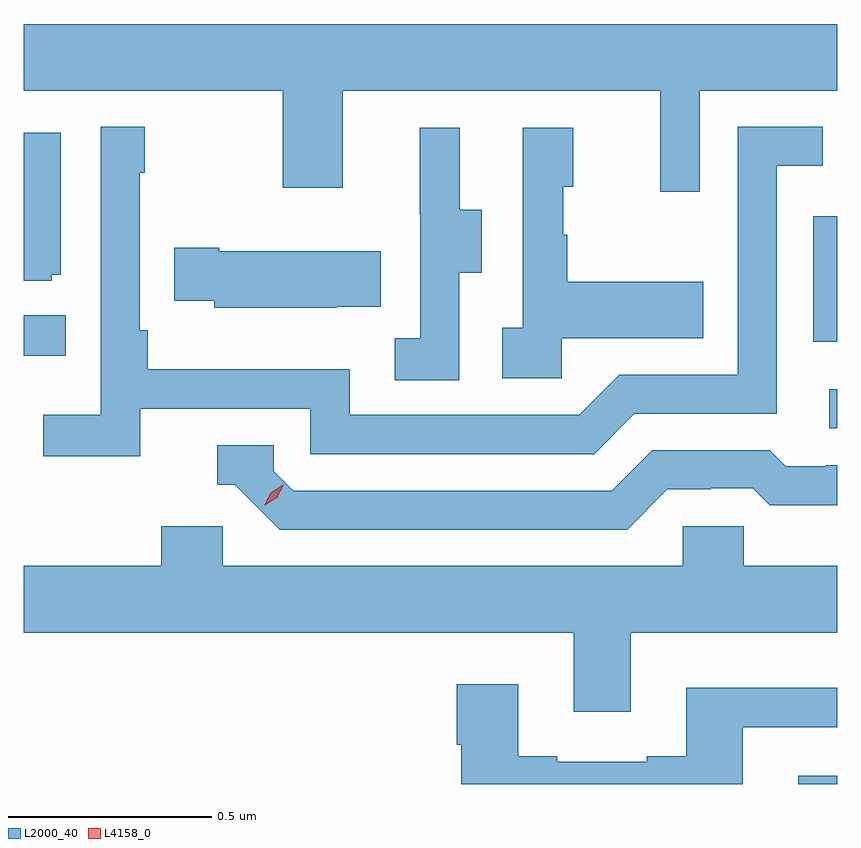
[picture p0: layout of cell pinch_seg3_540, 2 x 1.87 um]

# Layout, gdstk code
import gdstk
lib = gdstk.Library(unit=1e-6, precision=1e-09)
def R(c, l, rs):  # rectangles x0, y0, x1, y1
    for r in rs: c.add(gdstk.rectangle(r[:2], r[2:], *l))
def P(c, l, *ps):  # polygons
    for p in ps: c.add(gdstk.Polygon(p, *l))
L2000_40 = (2000, 40)
L4158_0 = (4158, 0)

pinch_seg3_540 = lib.new_cell('pinch_seg3_540')
R(pinch_seg3_540, L2000_40, [(1131.239,695.216,1131.335,695.236), (1131.315,696.09,1131.335,696.186), (1129.335,696.269,1129.439,696.368), (1131.276,696.303,1131.335,696.612)])
P(pinch_seg3_540, L2000_40, [(1130.997,696.92),(1131.335,696.92),(1131.335,697.084),(1129.335,697.084),(1129.335,696.92),(1129.972,696.92),(1129.972,696.681),(1130.119,696.681),(1130.119,696.92),(1130.9,696.92),(1130.9,696.672),(1130.997,696.672)],
  [(1129.622,696.138),(1130.04,696.138),(1130.04,696.027),(1130.737,696.027),(1130.836,696.126),(1131.186,696.126),(1131.186,696.735),(1131.299,696.735),(1131.299,696.831),(1131.09,696.831),(1131.09,696.222),(1130.799,696.222),(1130.7,696.123),(1130.136,696.123),(1130.136,696.235),(1129.64,696.235),(1129.64,696.331),(1129.62,696.331),(1129.62,696.719),(1129.633,696.719),(1129.633,696.832),(1129.524,696.832),(1129.524,696.124),(1129.383,696.124),(1129.383,696.022),(1129.622,696.022)],
  [(1130.406,696.472),(1130.461,696.472),(1130.461,696.627),(1130.407,696.627),(1130.407,696.829),(1130.309,696.829),(1130.309,696.615),(1130.31,696.615),(1130.31,696.311),(1130.247,696.311),(1130.247,696.208),(1130.406,696.208)],
  [(1130.658,696.311),(1131.005,696.311),(1131.005,696.451),(1130.671,696.451),(1130.671,696.566),(1130.661,696.566),(1130.661,696.684),(1130.686,696.684),(1130.686,696.829),(1130.562,696.829),(1130.562,696.338),(1130.511,696.338),(1130.511,696.213),(1130.658,696.213)],
  [(1129.404,696.468),(1129.426,696.468),(1129.426,696.817),(1129.335,696.817),(1129.335,696.453),(1129.404,696.453)],
  [(1130.105,696.389),(1130.213,696.389),(1130.213,696.526),(1129.816,696.526),(1129.816,696.534),(1129.705,696.534),(1129.705,696.404),(1129.803,696.404),(1129.803,696.386),(1130.105,696.386)],
  [(1130.917,695.94),(1131.024,695.94),(1131.024,695.943),(1131.127,695.943),(1131.169,695.901),(1131.335,695.901),(1131.335,696),(1131.307,696),(1131.307,695.997),(1131.208,695.997),(1131.169,696.036),(1130.88,696.036),(1130.781,695.937),(1129.998,695.937),(1129.95,695.985),(1129.95,696.048),(1129.811,696.048),(1129.811,695.952),(1129.854,695.952),(1129.965,695.841),(1130.818,695.841)],
  [(1130.827,695.588),(1131.335,695.588),(1131.335,695.752),(1131.105,695.752),(1131.105,695.85),(1130.955,695.85),(1130.955,695.752),(1129.824,695.752),(1129.824,695.85),(1129.673,695.85),(1129.673,695.752),(1129.335,695.752),(1129.335,695.588),(1130.687,695.588),(1130.687,695.394),(1130.827,695.394)],
  [(1131.103,695.355),(1131.335,695.355),(1131.335,695.452),(1130.963,695.452),(1130.963,695.284),(1130.867,695.284),(1130.867,695.271),(1130.647,695.271),(1130.647,695.284),(1130.551,695.284),(1130.551,695.461),(1130.399,695.461),(1130.399,695.313),(1130.411,695.313),(1130.411,695.216),(1131.103,695.216)])
P(pinch_seg3_540, L4158_0, [(1129.926,695.9),(1129.926,695.9),(1129.942,695.932),(1129.973,695.952),(1129.974,695.952),(1129.974,695.951),(1129.957,695.919),(1129.926,695.9)])

lib.write_gds('pinch_seg3_540.gds')
